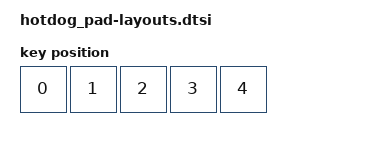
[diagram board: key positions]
#include <physical_layouts.dtsi>

/ {
physical_layout0: physical_layout_0 {
    compatible = "zmk,physical-layout";
    display-name = "Default";

    keys
      = <&key_physical_attrs 100  100     0 0 0 0 0>
      , <&key_physical_attrs 100  100   100 0 0 0 0>
      , <&key_physical_attrs 100  100   200 0 0 0 0>
      , <&key_physical_attrs 100  100   300 0 0 0 0>
      , <&key_physical_attrs 100  100   400 0 0 0 0>
      ;
  };
};
